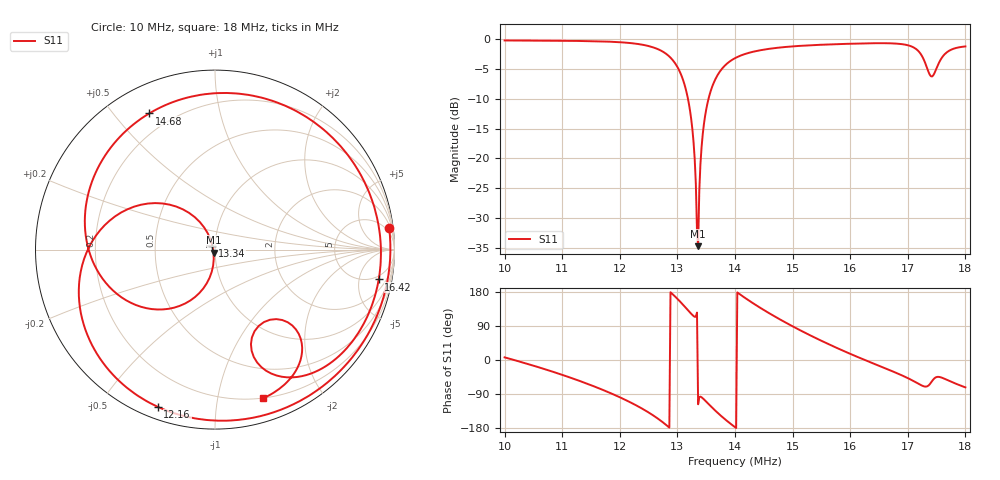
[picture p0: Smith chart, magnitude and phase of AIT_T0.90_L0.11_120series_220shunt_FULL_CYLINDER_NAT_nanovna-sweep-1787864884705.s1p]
! NanoVNA Web complex sweep
! Processing: original sample grid, no browser smoothing
# Hz S RI R 50
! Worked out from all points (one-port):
!   401 points, 10 MHz to 18 MHz, reference 50 ohm
!   lowest |S11| = -34.7 dB at 13.36 MHz (marker M1), VSWR 1.04, Z = 49.2 - j1.61 ohm
!   |S11| at or under -10 dB: 13.18 MHz to 13.54 MHz (356.9 kHz wide, 2.67 % of centre)
!   S11 on the Smith chart (normalised r, x): 10 MHz: 3, +16; 12.16 MHz: 0.05, -0.70; 13.34 MHz: 0.97, +0.04; 14.68 MHz: 0.12, +0.62; 16.42 MHz: 4, -9; 18 MHz: 0.20, -1.35
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1e7  0.9707 0.1184
1.1e7  0.7537 -0.6137
1.156e7  0.3292 -0.9057
1.2e7  -0.1371 -0.9354
1.216e7  -0.3183 -0.8763
1.266e7  -0.7471 -0.3552
1.284e7  -0.7296 -0.0525
1.3e7  -0.5554 0.186
1.322e7  -0.1443 0.2045
1.328e7  -0.0605 0.1236
1.334e7  -0.0142 0.0202
1.336e7  -0.00826 -0.0163
1.344e7  -0.0301 -0.1567
1.354e7  -0.1384 -0.2842
1.374e7  -0.4416 -0.3085
1.4e7  -0.6932 -0.0339
1.43e7  -0.6854 0.3788
1.468e7  -0.3665 0.7586
1.5e7  0.0166 0.872
1.544e7  0.5138 0.7359
1.6e7  0.8806 0.2582
1.642e7  0.912 -0.1664
1.7e7  0.5992 -0.6604
1.718e7  0.372 -0.7084
1.73e7  0.2161 -0.5985
1.746e7  0.3412 -0.3872
1.764e7  0.4849 -0.5708
1.8e7  0.2653 -0.8294
